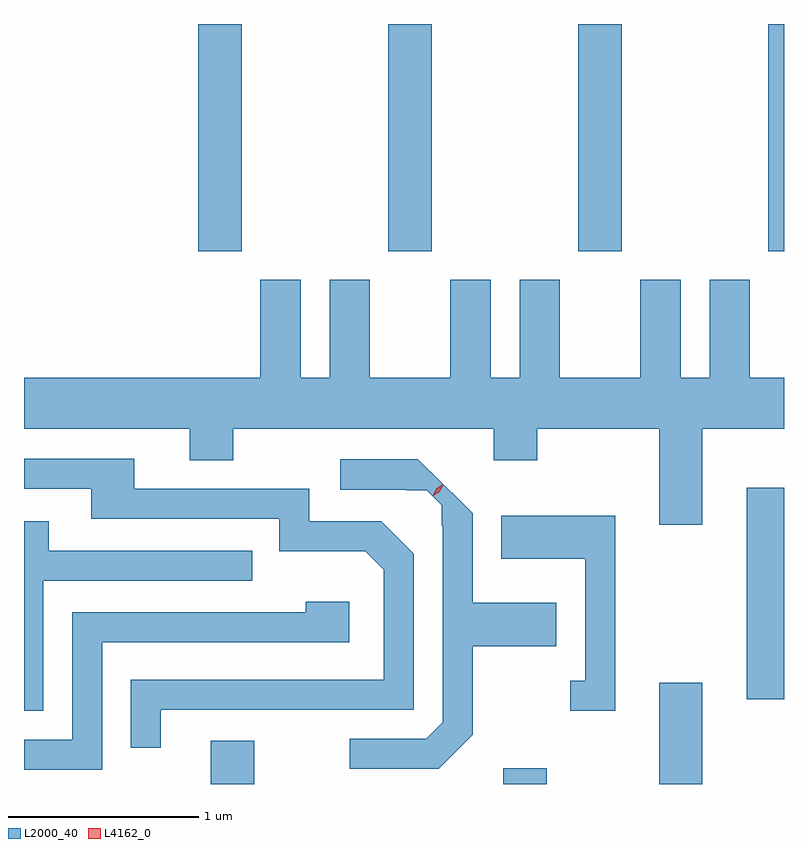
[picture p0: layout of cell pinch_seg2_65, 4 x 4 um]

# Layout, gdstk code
import gdstk
lib = gdstk.Library(unit=1e-6, precision=1e-09)
def R(c, l, rs):  # rectangles x0, y0, x1, y1
    for r in rs: c.add(gdstk.rectangle(r[:2], r[2:], *l))
def A(c, l, x, y, w, h, nx, ny, dx, dy):  # array of equal rectangles
    R(c, l, [(x+i*dx, y+j*dy, x+i*dx+w, y+j*dy+h) for i in range(nx) for j in range(ny)])
def P(c, l, *ps):  # polygons
    for p in ps: c.add(gdstk.Polygon(p, *l))
L2000_40 = (2000, 40)
L4162_0 = (4162, 0)

pinch_seg2_65 = lib.new_cell('pinch_seg2_65')
A(pinch_seg2_65, L2000_40, 1135.506, 989.311, 0.228, 1.195, 3, 1, 1, 0)
R(pinch_seg2_65, L2000_40, [(1135.571,986.506,1135.799,986.734), (1137.111,986.506,1137.339,986.589), (1137.931,986.506,1138.159,987.039), (1138.391,986.951,1138.588,988.064), (1138.506,989.311,1138.588,990.506)])
P(pinch_seg2_65, L2000_40, [(1138.588,988.644),(1138.409,988.644),(1138.409,989.159),(1138.196,989.159),(1138.196,988.644),(1138.044,988.644),(1138.044,989.159),(1137.831,989.159),(1137.831,988.644),(1137.409,988.644),(1137.409,989.159),(1137.196,989.159),(1137.196,988.644),(1137.044,988.644),(1137.044,989.159),(1136.831,989.159),(1136.831,988.644),(1136.409,988.644),(1136.409,989.159),(1136.196,989.159),(1136.196,988.644),(1136.044,988.644),(1136.044,989.159),(1135.831,989.159),(1135.831,988.644),(1134.588,988.644),(1134.588,988.376),(1135.461,988.376),(1135.461,988.211),(1135.689,988.211),(1135.689,988.376),(1137.061,988.376),(1137.061,988.211),(1137.289,988.211),(1137.289,988.376),(1137.931,988.376),(1137.931,987.871),(1138.159,987.871),(1138.159,988.376),(1138.588,988.376)],
  [(1135.309,986.896),(1136.639,986.896),(1136.639,987.717),(1136.467,987.889),(1136.089,987.889),(1136.089,988.059),(1135.169,988.059),(1135.169,988.219),(1134.588,988.219),(1134.588,988.061),(1134.941,988.061),(1134.941,987.901),(1135.931,987.901),(1135.931,987.731),(1136.384,987.731),(1136.481,987.634),(1136.481,987.054),(1135.151,987.054),(1135.151,986.698),(1135.309,986.698)],
  [(1136.949,986.764),(1136.949,987.231),(1137.389,987.231),(1137.389,987.459),(1136.949,987.459),(1136.949,987.93),(1136.73,988.149),(1136.728,988.146),(1136.66,988.214),(1136.253,988.214),(1136.253,988.056),(1136.6,988.056),(1136.6,988.052),(1136.709,988.052),(1136.787,987.974),(1136.787,987.865),(1136.791,987.865),(1136.791,986.832),(1136.704,986.744),(1136.303,986.744),(1136.303,986.586),(1136.772,986.586)],
  [(1137.699,987.919),(1137.101,987.919),(1137.101,987.691),(1137.541,987.691),(1137.541,987.049),(1137.463,987.049),(1137.463,986.891),(1137.699,986.891)],
  [(1134.689,987.576),(1135.788,987.576),(1135.788,987.734),(1134.719,987.734),(1134.719,987.889),(1134.588,987.889),(1134.588,986.891),(1134.689,986.891)],
  [(1134.999,987.251),(1136.299,987.251),(1136.299,987.464),(1136.071,987.464),(1136.071,987.409),(1134.841,987.409),(1134.841,986.739),(1134.588,986.739),(1134.588,986.581),(1134.999,986.581)])
P(pinch_seg2_65, L4162_0, [(1136.738,988.021),(1136.738,988.022),(1136.758,988.059),(1136.792,988.084),(1136.793,988.084),(1136.793,988.083),(1136.773,988.046),(1136.739,988.021)],
  [(1136.744,988.025),(1136.744,988.025),(1136.76,988.057),(1136.79,988.076),(1136.791,988.076),(1136.791,988.075),(1136.775,988.044),(1136.745,988.025)])

lib.write_gds('pinch_seg2_65.gds')
